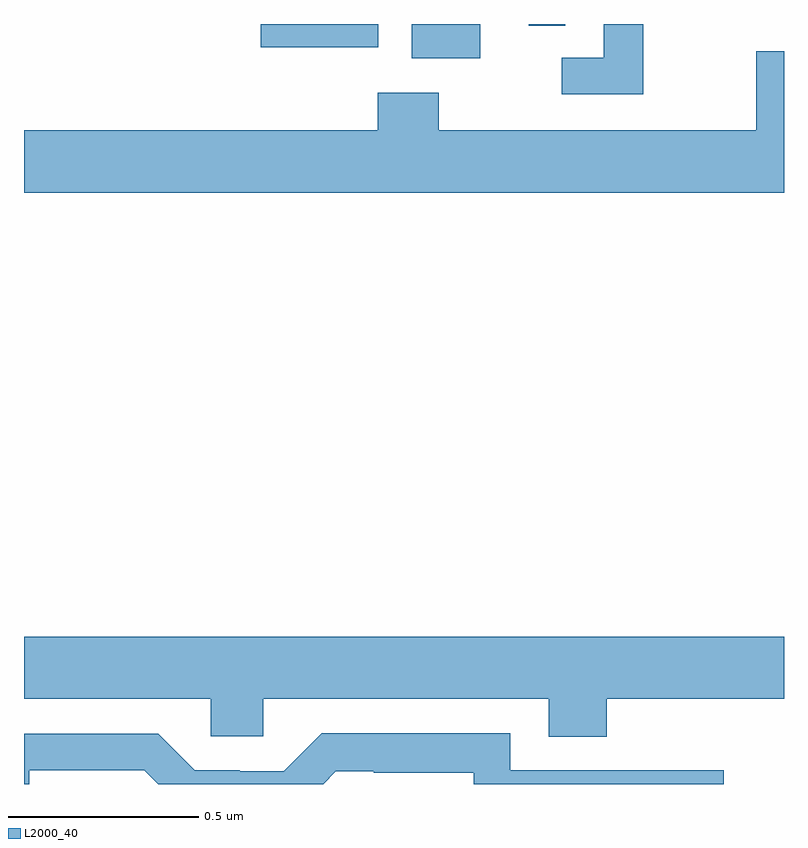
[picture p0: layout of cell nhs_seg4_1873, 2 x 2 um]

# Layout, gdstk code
import gdstk
lib = gdstk.Library(unit=1e-6, precision=1e-09)
def R(c, l, rs):  # rectangles x0, y0, x1, y1
    for r in rs: c.add(gdstk.rectangle(r[:2], r[2:], *l))
def P(c, l, *ps):  # polygons
    for p in ps: c.add(gdstk.Polygon(p, *l))
L2000_40 = (2000, 40)

nhs_seg4_1873 = lib.new_cell('nhs_seg4_1873')
R(nhs_seg4_1873, L2000_40, [(134.021,827.81,134.2,827.9), (133.623,827.839,133.932,827.9), (134.328,827.896,134.424,827.9)])
P(nhs_seg4_1873, L2000_40, [(134.629,827.9),(134.525,827.9),(134.525,827.811),(134.415,827.811),(134.415,827.715),(134.629,827.715)],
  [(135,827.828),(134.927,827.828),(134.927,827.62),(134.091,827.62),(134.091,827.719),(133.931,827.719),(133.931,827.62),(133,827.62),(133,827.456),(135,827.456)],
  [(134.534,826.124),(135,826.124),(135,826.288),(133,826.288),(133,826.124),(133.491,826.124),(133.491,826.026),(133.629,826.026),(133.629,826.124),(134.381,826.124),(134.381,826.025),(134.534,826.025)],
  [(133.014,825.936),(133.317,825.936),(133.353,825.9),(133.788,825.9),(133.821,825.933),(133.921,825.933),(133.921,825.929),(134.184,825.929),(134.184,825.9),(134.842,825.9),(134.842,825.936),(134.28,825.936),(134.28,826.033),(133.783,826.033),(133.683,825.933),(133.568,825.933),(133.568,825.936),(133.449,825.936),(133.353,826.032),(133,826.032),(133,825.9),(133.014,825.9)])

lib.write_gds('nhs_seg4_1873.gds')
